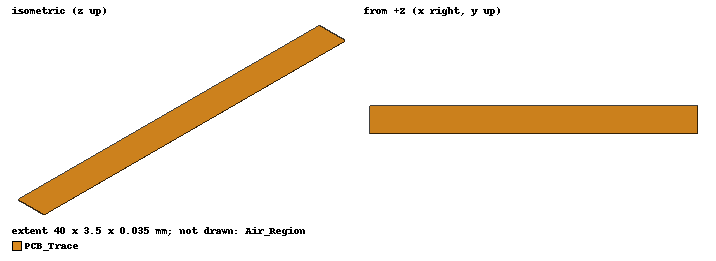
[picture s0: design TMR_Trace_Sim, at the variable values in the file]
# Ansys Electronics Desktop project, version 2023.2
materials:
  vacuum: permittivity=1
  copper: permeability=0.999991 conductivity=58000000

design TMR_Trace_Sim (Maxwell 3D, Magnetostatic, model units mm)
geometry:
  PCB_Trace [copper] = box(corner=(-20mm, -1.75mm, 0mm), size=(40mm, 3.5mm, 0.035mm))
  Current_Sheet = rectangle(corner=(0mm, -1.75mm, 0mm), y_size=3.5mm, z_size=0.035mm)
  Air_Region [vacuum] = box(corner=(-20mm, -15mm, -10mm), size=(40mm, 30mm, 20mm))
  Rectangle1 [non-model] = rectangle(corner=(-1.135mm, -1.4mm, 1.135mm), y_size=2.9mm, z_size=2.8mm)
  Rectangle1.rotate(axis=Y, angle=90deg)
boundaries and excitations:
  Current1: Current Objects=Current_Sheet Current=4.175A IsSolid=true Point_out_of_terminal=false
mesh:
  initial mesh: GlobalCurvilinear{Apply}
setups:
  Setup1: Magnetostatic MaximumPasses=10 MinimumPasses=2 MinimumConvergedPasses=1 PercentRefinement=30 PercentError=1 NonLinearResidual=0.001
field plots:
  Mag_B1: B over a plane on Setup1 : LastAdaptive
